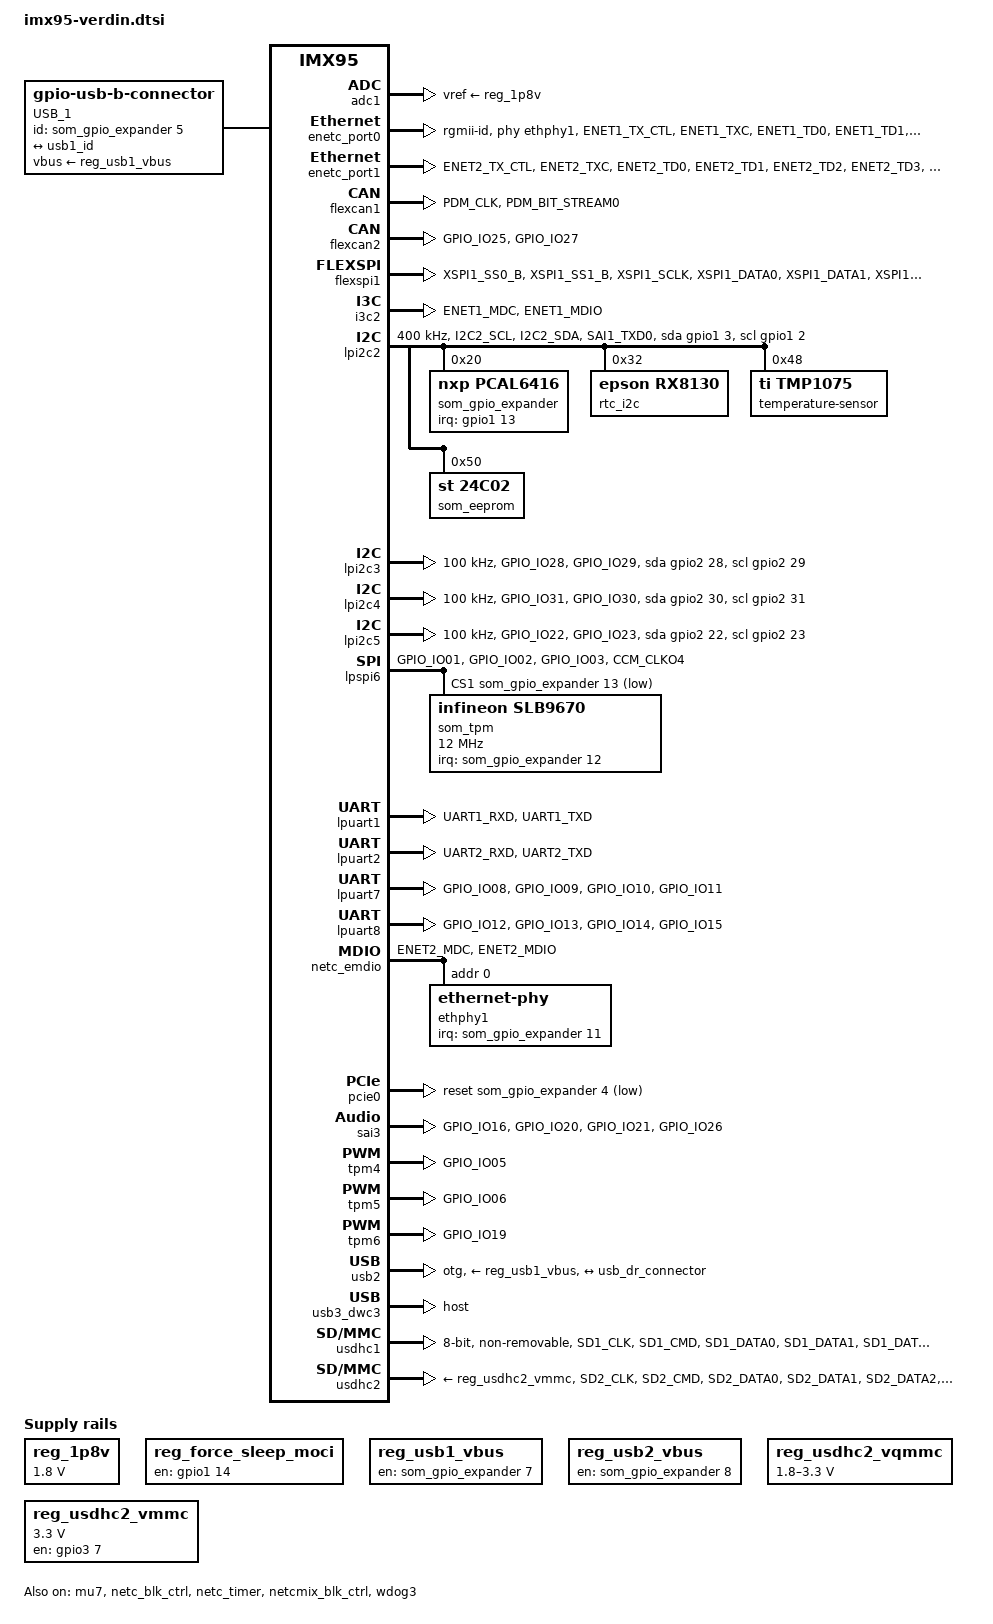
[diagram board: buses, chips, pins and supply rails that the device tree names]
// SPDX-License-Identifier: GPL-2.0-or-later OR MIT
/*
 * Copyright (c) Toradex
 *
 * Common dtsi for Verdin iMX95 SoM
 *
 * https://www.toradex.com/computer-on-modules/verdin-arm-family/nxp-imx95
 */

#include <dt-bindings/net/ti-dp83867.h>
#include "imx95.dtsi"

/ {
	aliases {
		can0 = &flexcan1;
		can1 = &flexcan2;
		eeprom0 = &som_eeprom;
		ethernet0 = &enetc_port0;
		ethernet1 = &enetc_port1;
		i2c0 = &lpi2c2;
		i2c1 = &lpi2c4;
		i2c2 = &lpi2c3;
		i2c3 = &i3c2;
		i2c4 = &lpi2c5;
		mmc0 = &usdhc1;
		mmc1 = &usdhc2;
		mmc2 = &usdhc3;
		rtc0 = &rtc_i2c;
		rtc1 = &scmi_bbm;
		serial0 = &lpuart7;
		serial1 = &lpuart8;
		serial2 = &lpuart1;
		serial3 = &lpuart2;
		serial4 = &lpuart6;
		usb0 = &usb2;
		usb1 = &usb3;
	};

	chosen {
		stdout-path = "serial2:115200n8";
	};

	connector {
		compatible = "gpio-usb-b-connector", "usb-b-connector";
		/* Verdin USB_1_ID (SODIMM 161) */
		id-gpios = <&som_gpio_expander 5 GPIO_ACTIVE_HIGH>;
		label = "USB_1";
		self-powered;
		vbus-supply = <&reg_usb1_vbus>;

		port {
			usb_dr_connector: endpoint {
				remote-endpoint = <&usb1_id>;
			};
		};
	};

	verdin_gpio_keys: gpio-keys {
		compatible = "gpio-keys";
		pinctrl-names = "default";
		pinctrl-0 = <&pinctrl_ctrl_wake1_mico>;

		status = "disabled";

		verdin_key_wakeup: key-wakeup {
			/* Verdin CTRL_WAKE1_MICO# (SODIMM 252) */
			gpios = <&gpio1 10 GPIO_ACTIVE_LOW>;
			label = "Wake-Up";
			linux,code = <KEY_WAKEUP>;
			wakeup-source;
		};
	};

	reg_1p8v: regulator-1p8v {
		compatible = "regulator-fixed";
		regulator-max-microvolt = <1800000>;
		regulator-min-microvolt = <1800000>;
		regulator-name = "On-module +V1.8";
	};

	/*
	 * By default we enable CTRL_SLEEP_MOCI#, this is required to have
	 * peripherals on the carrier board powered.
	 * If more granularity or power saving is required this can be disabled
	 * in the carrier board device tree files.
	 */
	reg_force_sleep_moci: regulator-force-sleep-moci {
		compatible = "regulator-fixed";
		/* Verdin CTRL_SLEEP_MOCI# (SODIMM 256) */
		gpios = <&gpio1 14 GPIO_ACTIVE_HIGH>;
		enable-active-high;
		regulator-always-on;
		regulator-boot-on;
		regulator-name = "CTRL_SLEEP_MOCI#";
	};

	reg_usb1_vbus: regulator-usb1-vbus {
		compatible = "regulator-fixed";
		/* Verdin USB_1_EN (SODIMM 155) */
		gpios = <&som_gpio_expander 7 GPIO_ACTIVE_HIGH>;
		enable-active-high;
		regulator-name = "USB_1_EN";
	};

	reg_usb2_vbus: regulator-usb2-vbus {
		compatible = "regulator-fixed";
		/* Verdin USB_2_EN (SODIMM 185) */
		gpios = <&som_gpio_expander 8 GPIO_ACTIVE_HIGH>;
		enable-active-high;
		regulator-name = "USB_2_EN";
	};

	reg_usdhc2_vqmmc: regulator-usdhc2-vqmmc {
		compatible = "regulator-gpio";
		pinctrl-names = "default";
		pinctrl-0 = <&pinctrl_usdhc2_vsel>;
		gpios = <&gpio3 19 GPIO_ACTIVE_HIGH>;
		regulator-max-microvolt = <3300000>;
		regulator-min-microvolt = <1800000>;
		states = <1800000 0x1>,
			 <3300000 0x0>;
		regulator-name = "PMIC_SD2_VSEL";
	};

	reg_usdhc2_vmmc: regulator-vmmc-usdhc2 {
		compatible = "regulator-fixed";
		pinctrl-names = "default";
		pinctrl-0 = <&pinctrl_usdhc2_pwr_en>;
		/* Verdin SD_1_PWR_EN (SODIMM 76) */
		gpios = <&gpio3 7 GPIO_ACTIVE_HIGH>;
		enable-active-high;
		off-on-delay-us = <100000>;
		regulator-max-microvolt = <3300000>;
		regulator-min-microvolt = <3300000>;
		regulator-name = "SD_1_PWR_EN";
		startup-delay-us = <20000>;
	};

	cm7: remoteproc-cm7 {
		compatible = "fsl,imx95-cm7";
		mbox-names = "tx", "rx", "rxdb";
		mboxes = <&mu7 0 1
			  &mu7 1 1
			  &mu7 3 1>;
		memory-region = <&vdevbuffer>, <&vdev0vring0>, <&vdev0vring1>,
				<&vdev1vring0>, <&vdev1vring1>, <&rsc_table>, <&m7_reserved>;
	};

	reserved-memory {
		#address-cells = <2>;
		#size-cells = <2>;
		ranges;

		linux_cma: linux,cma {
			compatible = "shared-dma-pool";
			reusable;
			size = <0 0x3c000000>;
			alloc-ranges = <0 0x80000000 0 0x7F000000>;
			linux,cma-default;
		};

		m7_reserved: memory@80000000 {
			reg = <0 0x80000000 0 0x1000000>;
			no-map;
		};

		vdev0vring0: vdev0vring0@88000000 {
			reg = <0 0x88000000 0 0x8000>;
			no-map;
		};

		vdev0vring1: vdev0vring1@88008000 {
			reg = <0 0x88008000 0 0x8000>;
			no-map;
		};

		vdev1vring0: vdev1vring0@88010000 {
			reg = <0 0x88010000 0 0x8000>;
			no-map;
		};

		vdev1vring1: vdev1vring1@88018000 {
			reg = <0 0x88018000 0 0x8000>;
			no-map;
		};

		vdevbuffer: vdevbuffer@88020000 {
			compatible = "shared-dma-pool";
			reg = <0 0x88020000 0 0x100000>;
			no-map;
		};

		rsc_table: rsc-table@88220000 {
			reg = <0 0x88220000 0 0x1000>;
			no-map;
		};
	};
};

/* Verdin ADC_1, ADC_2, ADC_3 and ADC_4 */
&adc1 {
	vref-supply = <&reg_1p8v>;
};

/* Verdin ETH_1 (On-module PHY) */
&enetc_port0 {
	pinctrl-names = "default";
	pinctrl-0 = <&pinctrl_enetc0>;
	phy-handle = <&ethphy1>;
	phy-mode = "rgmii-id";
};

/* Verdin ETH_2_RGMII */
&enetc_port1 {
	pinctrl-names = "default";
	pinctrl-0 = <&pinctrl_enetc1>;
};

/* Verdin CAN_1 */
&flexcan1 {
	pinctrl-names = "default";
	pinctrl-0 = <&pinctrl_flexcan1>;
};

/* Verdin CAN_2 */
&flexcan2 {
	pinctrl-names = "default";
	pinctrl-0 = <&pinctrl_flexcan2>;
};

/* Verdin QSPI_1 */
&flexspi1 {
	pinctrl-names = "default";
	pinctrl-0 = <&pinctrl_flexspi1>;
};

&gpio1 {
	gpio-line-names =
		"", /* 0 */
		"",
		"",
		"",
		"SODIMM_147",
		"SODIMM_149",
		"SODIMM_151",
		"SODIMM_153",
		"SODIMM_20",
		"SODIMM_22",
		"SODIMM_252", /* 10 */
		"",
		"SODIMM_189",
		"IO_EXP_INT",
		"SODIMM_256",
		"";

	status = "okay";
};

&gpio2 {
	gpio-line-names =
		"SODIMM_206", /* 0 */
		"SODIMM_198",
		"SODIMM_200",
		"SODIMM_196",
		"",
		"SODIMM_15",
		"SODIMM_16",
		"",
		"SODIMM_131",
		"SODIMM_129",
		"SODIMM_135", /* 10 */
		"SODIMM_133",
		"SODIMM_139",
		"SODIMM_137",
		"SODIMM_143",
		"SODIMM_141",
		"SODIMM_30",
		"SODIMM_38",
		"SODIMM_208",
		"SODIMM_19",
		"SODIMM_36", /* 20 */
		"SODIMM_34",
		"SODIMM_93",
		"SODIMM_95",
		"SODIMM_210",
		"SODIMM_24",
		"SODIMM_32",
		"SODIMM_26",
		"SODIMM_53",
		"SODIMM_55",
		"SODIMM_12", /* 30 */
		"SODIMM_14";
};

&gpio3 {
	gpio-line-names =
		"SODIMM_84", /* 0 */
		"SODIMM_78",
		"SODIMM_74",
		"SODIMM_80",
		"SODIMM_82",
		"SODIMM_70",
		"SODIMM_72",
		"SODIMM_76",
		"",
		"",
		"", /* 10 */
		"",
		"",
		"",
		"",
		"",
		"",
		"",
		"",
		"PMIC_SD2_VSEL",
		"", /* 20 */
		"",
		"",
		"",
		"",
		"",
		"SODIMM_91",
		"SODIMM_218",
		"",
		"",
		"", /* 30 */
		"";
};

&gpio4 {
	gpio-line-names =
		"SODIMM_59", /* 0 */
		"SODIMM_57",
		"",
		"",
		"",
		"",
		"",
		"",
		"",
		"",
		"", /* 10 */
		"",
		"",
		"",
		"SODIMM_193",
		"SODIMM_191",
		"SODIMM_215",
		"SODIMM_217",
		"SODIMM_219",
		"SODIMM_221",
		"SODIMM_211", /* 20 */
		"SODIMM_213",
		"SODIMM_199",
		"SODIMM_197",
		"SODIMM_201",
		"SODIMM_203",
		"SODIMM_205",
		"SODIMM_207",
		"SODIMM_216",
		"SODIMM_202";
};

&gpio5 {
	gpio-line-names =
		"SODIMM_56", /* 0 */
		"SODIMM_58",
		"SODIMM_60",
		"SODIMM_62",
		"SODIMM_46",
		"SODIMM_44",
		"SODIMM_42",
		"SODIMM_48",
		"SODIMM_66",
		"SODIMM_52",
		"SODIMM_54", /* 10 */
		"SODIMM_64",
		"SODIMM_212",
		"",
		"",
		"",
		"",
		"";
};

/* Verdin I2C_3_HDMI */
&i3c2 {
	pinctrl-names = "default";
	pinctrl-0 = <&pinctrl_i3c2>;
	i2c-scl-hz = <400000>;
};

/* CTRL_I2C (On-module I2C) */
&lpi2c2 {
	pinctrl-names = "default", "gpio";
	pinctrl-0 = <&pinctrl_lpi2c2>, <&pinctrl_io_exp_int>;
	pinctrl-1 = <&pinctrl_lpi2c2_gpio>, <&pinctrl_io_exp_int>;
	clock-frequency = <400000>;
	scl-gpios = <&gpio1 2 (GPIO_ACTIVE_HIGH | GPIO_OPEN_DRAIN)>;
	sda-gpios = <&gpio1 3 (GPIO_ACTIVE_HIGH | GPIO_OPEN_DRAIN)>;
	single-master;

	status = "okay";

	som_gpio_expander: gpio@20 {
		compatible = "nxp,pcal6416";
		reg = <0x20>;
		#interrupt-cells = <2>;
		interrupt-controller;
		interrupt-parent = <&gpio1>;
		interrupts = <13 IRQ_TYPE_LEVEL_LOW>;
		#gpio-cells = <2>;
		gpio-controller;

		gpio-line-names =
			"SODIMM_220", /* 0 */
			"SODIMM_222",
			"SODIMM_17",
			"SODIMM_21",
			"SODIMM_244",
			"SODIMM_161",
			"SODIMM_157",
			"SODIMM_155",
			"SODIMM_185",
			"SODIMM_187",
			"USB_RECOV_CTRL#", /* 10 */
			"ENET1_INT#",
			"TPM_INT#",
			"TPM_CS#",
			"",
			"";

		/*
		 * Switch USB to default position:
		 *   - SoC USB2 -> Verdin USB_1
		 *   - SoC USB1 -> Verdin USB_2
		 * Reset configuration:
		 *   - SoC USB1 -> Verdin USB_1 (USB recovery)
		 *   - SoC USB2 not connected
		 */
		usb_recov_ctrl: usb-recov-ctrl-hog {
			gpio-hog;
			gpios = <10 GPIO_ACTIVE_HIGH>;
			line-name = "USB_RECOV_CTRL#";
			output-high;
		};
	};

	rtc_i2c: rtc@32 {
		compatible = "epson,rx8130";
		reg = <0x32>;
	};

	temperature-sensor@48 {
		compatible = "ti,tmp1075";
		reg = <0x48>;
	};

	som_eeprom: eeprom@50 {
		compatible = "st,24c02", "atmel,24c02";
		reg = <0x50>;
		pagesize = <16>;
	};
};

/* Verdin I2C_2_DSI */
&lpi2c3 {
	pinctrl-names = "default", "gpio";
	pinctrl-0 = <&pinctrl_lpi2c3>;
	pinctrl-1 = <&pinctrl_lpi2c3_gpio>;
	clock-frequency = <100000>;
	scl-gpios = <&gpio2 29 (GPIO_ACTIVE_HIGH | GPIO_OPEN_DRAIN)>;
	sda-gpios = <&gpio2 28 (GPIO_ACTIVE_HIGH | GPIO_OPEN_DRAIN)>;
	single-master;
};

/* Verdin I2C_1 */
&lpi2c4 {
	pinctrl-names = "default", "gpio";
	pinctrl-0 = <&pinctrl_lpi2c4>;
	pinctrl-1 = <&pinctrl_lpi2c4_gpio>;
	clock-frequency = <100000>;
	scl-gpios = <&gpio2 31 (GPIO_ACTIVE_HIGH | GPIO_OPEN_DRAIN)>;
	sda-gpios = <&gpio2 30 (GPIO_ACTIVE_HIGH | GPIO_OPEN_DRAIN)>;
	single-master;
};

/* Verdin I2C_4_CSI */
&lpi2c5 {
	pinctrl-names = "default", "gpio";
	pinctrl-0 = <&pinctrl_lpi2c5>;
	pinctrl-1 = <&pinctrl_lpi2c5_gpio>;
	clock-frequency = <100000>;
	scl-gpios = <&gpio2 23 (GPIO_ACTIVE_HIGH | GPIO_OPEN_DRAIN)>;
	sda-gpios = <&gpio2 22 (GPIO_ACTIVE_HIGH | GPIO_OPEN_DRAIN)>;
	single-master;
};

/* Verdin SPI_1 */
&lpspi6 {
	pinctrl-names = "default";
	pinctrl-0 = <&pinctrl_lpspi6>, <&pinctrl_spi1_cs>;
	cs-gpios = <&gpio4 29 GPIO_ACTIVE_LOW>,
		   <&som_gpio_expander 13 GPIO_ACTIVE_LOW>;

	status = "okay";

	som_tpm: tpm@1 {
		compatible = "infineon,slb9670", "tcg,tpm_tis-spi";
		reg = <0x1>;
		interrupt-parent = <&som_gpio_expander>;
		interrupts = <12 IRQ_TYPE_EDGE_FALLING>;
		/*
		 * Maximum TPM-supported speed is 18.5 MHz, limited to 12 MHz
		 * here as lpspi6's per-clock (twice the max speed) is 24 MHz
		 */
		spi-max-frequency = <12000000>;
	};
};

/* Verdin UART_3, used as the Linux console */
&lpuart1 {
	pinctrl-names = "default";
	pinctrl-0 = <&pinctrl_uart1>;
};

/* Verdin UART_4 */
&lpuart2 {
	pinctrl-names = "default";
	pinctrl-0 = <&pinctrl_uart2>;
};

/* Verdin UART_1 */
&lpuart7 {
	pinctrl-names = "default";
	pinctrl-0 = <&pinctrl_uart7>;
	uart-has-rtscts;
};

/* Verdin UART_2 */
&lpuart8 {
	pinctrl-names = "default";
	pinctrl-0 = <&pinctrl_uart8>;
	uart-has-rtscts;
};

&mu7 {
	status = "okay";
};

&netc_blk_ctrl {
	status = "okay";
};

&netc_bus0 {
	msi-map = <0x0 &its 0x60 0x1>,	//ENETC0 PF
		  <0x10 &its 0x61 0x1>, //ENETC0 VF0
		  <0x20 &its 0x62 0x1>, //ENETC0 VF1
		  <0x40 &its 0x63 0x1>, //ENETC1 PF
		  <0x50 &its 0x65 0x1>, //ENETC1 VF0
		  <0x60 &its 0x66 0x1>, //ENETC1 VF1
		  <0x80 &its 0x64 0x1>, //ENETC2 PF
		  <0xc0 &its 0x67 0x1>; //NETC Timer
	iommu-map = <0x0 &smmu 0x20 0x1>,
		    <0x10 &smmu 0x21 0x1>,
		    <0x20 &smmu 0x22 0x1>,
		    <0x40 &smmu 0x23 0x1>,
		    <0x50 &smmu 0x25 0x1>,
		    <0x60 &smmu 0x26 0x1>,
		    <0x80 &smmu 0x24 0x1>,
		    <0xc0 &smmu 0x27 0x1>;
};

/* Verdin ETH_2_RGMII_MDIO, shared between all ethernet ports */
&netc_emdio {
	pinctrl-names = "default";
	pinctrl-0 = <&pinctrl_emdio>;

	status = "okay";

	ethphy1: ethernet-phy@0 {
		reg = <0>;
		interrupt-parent = <&som_gpio_expander>;
		interrupts = <11 IRQ_TYPE_EDGE_FALLING>;
		ti,rx-internal-delay = <DP83867_RGMIIDCTL_2_00_NS>;
		ti,tx-internal-delay = <DP83867_RGMIIDCTL_2_00_NS>;
	};
};

&netc_timer {
	status = "okay";
};

&netcmix_blk_ctrl {
	status = "okay";
};

/* Verdin PCIE_1 */
&pcie0 {
	/* PCIE_1_RESET# (SODIMM 244) */
	reset-gpios = <&som_gpio_expander 4 GPIO_ACTIVE_LOW>;
};

/* Verdin I2S_1 */
&sai3 {
	pinctrl-names = "default";
	pinctrl-0 = <&pinctrl_sai3>;
	assigned-clocks = <&scmi_clk IMX95_CLK_AUDIOPLL1_VCO>,
			  <&scmi_clk IMX95_CLK_AUDIOPLL2_VCO>,
			  <&scmi_clk IMX95_CLK_AUDIOPLL1>,
			  <&scmi_clk IMX95_CLK_AUDIOPLL2>,
			  <&scmi_clk IMX95_CLK_SAI3>;
	assigned-clock-parents = <0>, <0>, <0>, <0>,
				 <&scmi_clk IMX95_CLK_AUDIOPLL1>;
	assigned-clock-rates = <3932160000>,
			       <3612672000>, <393216000>,
			       <361267200>, <12288000>;
	#sound-dai-cells = <0>;
	fsl,sai-mclk-direction-output;
};

&scmi_bbm {
	linux,code = <KEY_POWER>;
};

&thermal_zones {
	/* PF09 Main PMIC */
	pf09-thermal {
		polling-delay = <2000>;
		polling-delay-passive = <250>;
		thermal-sensors = <&scmi_sensor 2>;

		trips {
			trip0 {
				hysteresis = <2000>;
				temperature = <155000>;
				type = "critical";
			};
		};
	};

	/* PF53 VDD_ARM PMIC */
	pf53-arm-thermal {
		polling-delay = <2000>;
		polling-delay-passive = <250>;
		thermal-sensors = <&scmi_sensor 4>;

		trips {
			trip0 {
				hysteresis = <2000>;
				temperature = <155000>;
				type = "critical";
			};
		};
	};

	/* PF53 VDD_SOC PMIC */
	pf53-soc-thermal {
		polling-delay = <2000>;
		polling-delay-passive = <250>;
		thermal-sensors = <&scmi_sensor 3>;

		trips {
			trip0 {
				hysteresis = <2000>;
				temperature = <155000>;
				type = "critical";
			};
		};
	};
};

/* Verdin PWM_1 */
&tpm4 {
	pinctrl-names = "default";
	pinctrl-0 = <&pinctrl_tpm4>;
};

/* Verdin PWM_2 */
&tpm5 {
	pinctrl-names = "default";
	pinctrl-0 = <&pinctrl_tpm5>;
};

/* Verdin PWM_3_DSI */
&tpm6 {
	pinctrl-names = "default";
	pinctrl-0 = <&pinctrl_tpm6>;
};

/* Verdin USB_1 */
&usb2 {
	dr_mode = "otg";
	adp-disable;
	hnp-disable;
	srp-disable;
	usb-role-switch;
	vbus-supply = <&reg_usb1_vbus>;

	port {
		usb1_id: endpoint {
			remote-endpoint = <&usb_dr_connector>;
		};
	};
};

/* Verdin USB_2 */
&usb3 {
	fsl,disable-port-power-control;
};

&usb3_dwc3 {
	dr_mode = "host";
};

&usb3_phy {
	vbus-supply = <&reg_usb2_vbus>;
};

/* On-module eMMC */
&usdhc1 {
	pinctrl-names = "default", "state_100mhz", "state_200mhz";
	pinctrl-0 = <&pinctrl_usdhc1>;
	pinctrl-1 = <&pinctrl_usdhc1>;
	pinctrl-2 = <&pinctrl_usdhc1_200mhz>;
	bus-width = <8>;
	non-removable;
	no-sdio;
	no-sd;

	status = "okay";
};

/* Verdin SD_1 */
&usdhc2 {
	pinctrl-names = "default", "state_100mhz", "state_200mhz", "sleep";
	pinctrl-0 = <&pinctrl_usdhc2>, <&pinctrl_usdhc2_cd>;
	pinctrl-1 = <&pinctrl_usdhc2>, <&pinctrl_usdhc2_cd>;
	pinctrl-2 = <&pinctrl_usdhc2_200mhz>,<&pinctrl_usdhc2_cd>;
	pinctrl-3 = <&pinctrl_usdhc2_sleep>, <&pinctrl_usdhc2_cd>;
	cd-gpios = <&gpio3 0 GPIO_ACTIVE_LOW>;
	vmmc-supply = <&reg_usdhc2_vmmc>;
	vqmmc-supply = <&reg_usdhc2_vqmmc>;
};

&wdog3 {
	fsl,ext-reset-output;

	status = "okay";
};

&scmi_iomuxc {
	/* On-module Bluetooth on WB SKUs, module-specific UART otherwise */
	pinctrl_bt_uart: btuartgrp {
		fsl,pins = <IMX95_PAD_GPIO_IO04__LPUART6_TX	0x31e>, /* WiFi_UART_SoC_TXD */
			   <IMX95_PAD_GPIO_IO33__LPUART6_RX	0x31e>, /* WiFi_UART_SoC_RXD */
			   <IMX95_PAD_GPIO_IO34__LPUART6_CTS_B	0x31e>, /* WiFi_UART_SoC_CTS */
			   <IMX95_PAD_GPIO_IO07__LPUART6_RTS_B	0x31e>; /* WiFi_UART_SoC_RTS */
	};

	/* Verdin CSI_1_MCLK */
	pinctrl_csi1_mclk: csi1mclkgrp {
		fsl,pins = <IMX95_PAD_CCM_CLKO1__CCMSRCGPCMIX_TOP_CLKO_1	0x51e>; /* SODIMM 91 */
	};

	/* Verdin CTRL_SLEEP_MOCI# */
	pinctrl_ctrl_sleep_moci: ctrlsleepmocigrp {
		fsl,pins = <IMX95_PAD_SAI1_RXD0__AONMIX_TOP_GPIO1_IO_BIT14	0x51e>; /* SODIMM 256 */
	};

	/* Verdin CTRL_WAKE1_MICO# */
	pinctrl_ctrl_wake1_mico: ctrlwake1micogrp {
		fsl,pins = <IMX95_PAD_PDM_BIT_STREAM1__AONMIX_TOP_GPIO1_IO_BIT10	0x31e>; /* SODIMM 252 */
	};

	/* Verdin ETH_2_RGMII_MDIO, shared between all ethernet ports */
	pinctrl_emdio: emdiogrp {
		fsl,pins = <IMX95_PAD_ENET2_MDC__NETCMIX_TOP_NETC_MDC	0x50e>, /* ENET2_MDC, SODIMM 193 */
			   <IMX95_PAD_ENET2_MDIO__NETCMIX_TOP_NETC_MDIO	0x90e>; /* ENET2_MDIO, SODIMM 191 */
	};

	/* Verdin ETH_1 (On-module PHY) */
	pinctrl_enetc0: enetc0grp {
		fsl,pins = <IMX95_PAD_ENET1_TX_CTL__NETCMIX_TOP_ETH0_RGMII_TX_CTL	0x57e>, /* ENET1_TX_CTL */
			   <IMX95_PAD_ENET1_TXC__NETCMIX_TOP_ETH0_RGMII_TX_CLK		0x58e>, /* ENET1_TXC    */
			   <IMX95_PAD_ENET1_TD0__NETCMIX_TOP_ETH0_RGMII_TD0		0x50e>, /* ENET1_TDO    */
			   <IMX95_PAD_ENET1_TD1__NETCMIX_TOP_ETH0_RGMII_TD1		0x50e>, /* ENET1_TD1    */
			   <IMX95_PAD_ENET1_TD2__NETCMIX_TOP_ETH0_RGMII_TD2		0x50e>, /* ENET1_TD2    */
			   <IMX95_PAD_ENET1_TD3__NETCMIX_TOP_ETH0_RGMII_TD3		0x50e>, /* ENET1_TD3    */
			   <IMX95_PAD_ENET1_RX_CTL__NETCMIX_TOP_ETH0_RGMII_RX_CTL	0x57e>, /* ENET1_RX_CTL */
			   <IMX95_PAD_ENET1_RXC__NETCMIX_TOP_ETH0_RGMII_RX_CLK		0x58e>, /* ENET1_RXC    */
			   <IMX95_PAD_ENET1_RD0__NETCMIX_TOP_ETH0_RGMII_RD0		0x57e>, /* ENET1_RD0    */
			   <IMX95_PAD_ENET1_RD1__NETCMIX_TOP_ETH0_RGMII_RD1		0x57e>, /* ENET1_RD1    */
			   <IMX95_PAD_ENET1_RD2__NETCMIX_TOP_ETH0_RGMII_RD2		0x57e>, /* ENET1_RD2    */
			   <IMX95_PAD_ENET1_RD3__NETCMIX_TOP_ETH0_RGMII_RD3		0x57e>; /* ENET1_RD3    */
	};

	/* Verdin ETH_2_RGMII */
	pinctrl_enetc1: enetc1grp {
		fsl,pins = <IMX95_PAD_ENET2_TX_CTL__NETCMIX_TOP_ETH1_RGMII_TX_CTL	0x57e>, /* ENET2_TX_CTL */
			   <IMX95_PAD_ENET2_TXC__NETCMIX_TOP_ETH1_RGMII_TX_CLK		0x58e>, /* ENET2_TXC    */
			   <IMX95_PAD_ENET2_TD0__NETCMIX_TOP_ETH1_RGMII_TD0		0x50e>, /* ENET2_TD0    */
			   <IMX95_PAD_ENET2_TD1__NETCMIX_TOP_ETH1_RGMII_TD1		0x50e>, /* ENET2_TD1    */
			   <IMX95_PAD_ENET2_TD2__NETCMIX_TOP_ETH1_RGMII_TD2		0x50e>, /* ENET2_TD2    */
			   <IMX95_PAD_ENET2_TD3__NETCMIX_TOP_ETH1_RGMII_TD3		0x50e>, /* ENET2_TD3    */
			   <IMX95_PAD_ENET2_RX_CTL__NETCMIX_TOP_ETH1_RGMII_RX_CTL	0x57e>, /* ENET2_RX_CTL */
			   <IMX95_PAD_ENET2_RXC__NETCMIX_TOP_ETH1_RGMII_RX_CLK		0x58e>, /* ENET2_RXC    */
			   <IMX95_PAD_ENET2_RD0__NETCMIX_TOP_ETH1_RGMII_RD0		0x57e>, /* ENET2_RD0    */
			   <IMX95_PAD_ENET2_RD1__NETCMIX_TOP_ETH1_RGMII_RD1		0x57e>, /* ENET2_RD1    */
			   <IMX95_PAD_ENET2_RD2__NETCMIX_TOP_ETH1_RGMII_RD2		0x57e>, /* ENET2_RD2    */
			   <IMX95_PAD_ENET2_RD3__NETCMIX_TOP_ETH1_RGMII_RD3		0x57e>; /* ENET2_RD3    */
	};

	/* Verdin ETH_2_RGMII_INT#  */
	pinctrl_eth2_rgmii_int: eth2rgmiiintgrp {
		fsl,pins = <IMX95_PAD_SAI1_TXC__AONMIX_TOP_GPIO1_IO_BIT12	0x31e>; /* SODIMM 189 */
	};

	/* Verdin CAN_1 */
	pinctrl_flexcan1: flexcan1grp {
		fsl,pins = <IMX95_PAD_PDM_CLK__AONMIX_TOP_CAN1_TX		0x39e>, /* SODIMM 20 */
			   <IMX95_PAD_PDM_BIT_STREAM0__AONMIX_TOP_CAN1_RX	0x39e>; /* SODIMM 22 */
	};

	/* Verdin CAN_2 */
	pinctrl_flexcan2: flexcan2grp {
		fsl,pins = <IMX95_PAD_GPIO_IO25__CAN2_TX	0x39e>, /* SODIMM 24 */
			   <IMX95_PAD_GPIO_IO27__CAN2_RX	0x39e>; /* SODIMM 26 */
	};

	/* Verdin QSPI_1 */
	pinctrl_flexspi1: flexspi1grp {
		fsl,pins = <IMX95_PAD_XSPI1_SS0_B__FLEXSPI1_A_SS0_B	0x3fe>, /* SODIMM 54 */
			   <IMX95_PAD_XSPI1_SS1_B__FLEXSPI1_A_SS1_B	0x3fe>, /* SODIMM 64 */
			   <IMX95_PAD_XSPI1_SCLK__XSPI_CLK		0x3fe>, /* SODIMM 52 */
			   <IMX95_PAD_XSPI1_DATA0__XSPI_DATA_BIT0	0x3fe>, /* SODIMM 56 */
			   <IMX95_PAD_XSPI1_DATA1__XSPI_DATA_BIT1	0x3fe>, /* SODIMM 58 */
			   <IMX95_PAD_XSPI1_DATA2__XSPI_DATA_BIT2	0x3fe>, /* SODIMM 60 */
			   <IMX95_PAD_XSPI1_DATA3__XSPI_DATA_BIT3	0x3fe>, /* SODIMM 62 */
			   <IMX95_PAD_XSPI1_DQS__XSPI_DQS		0x3fe>; /* SODIMM 66 */
	};

	/* Verdin GPIO_1 */
	pinctrl_gpio1: gpio1grp {
		fsl,pins = <IMX95_PAD_GPIO_IO00__GPIO2_IO_BIT0	0x51e>; /* SODIMM 206 */
	};

	/* Verdin GPIO_2 */
	pinctrl_gpio2: gpio2grp {
		fsl,pins = <IMX95_PAD_GPIO_IO18__GPIO2_IO_BIT18	0x51e>; /* SODIMM 208 */
	};

	/* Verdin GPIO_3 */
	pinctrl_gpio3: gpio3grp {
		fsl,pins = <IMX95_PAD_GPIO_IO24__GPIO2_IO_BIT24	0x51e>; /* SODIMM 210 */
	};

	/* Verdin GPIO_4 */
	pinctrl_gpio4: gpio4grp {
		fsl,pins = <IMX95_PAD_GPIO_IO32__GPIO5_IO_BIT12	0x51e>; /* SODIMM 212 */
	};

	/* Verdin GPIO_5_CSI */
	pinctrl_gpio5: gpio5grp {
		fsl,pins = <IMX95_PAD_CCM_CLKO3__GPIO4_IO_BIT28	0x51e>; /* SODIMM 216 */
	};

	/* Verdin GPIO_6_CSI */
	pinctrl_gpio6: gpio6grp {
		fsl,pins = <IMX95_PAD_CCM_CLKO2__GPIO3_IO_BIT27	0x51e>; /* SODIMM 218 */
	};

	/* Verdin I2S_2_BCLK as GPIO (conflict with Verdin I2S_2) */
	pinctrl_i2s_2_bclk_gpio: i2s2bclkgpiogrp {
		fsl,pins = <IMX95_PAD_XSPI1_DATA6__GPIO5_IO_BIT6	0x51e>; /* SODIMM 42 */
	};

	/* Verdin I2S_2_D_IN as GPIO (conflict with Verdin I2S_2) */
	pinctrl_i2s_2_d_in_gpio: i2s2dingpiogrp {
		fsl,pins = <IMX95_PAD_XSPI1_DATA7__GPIO5_IO_BIT7	0x31e>; /* SODIMM 48 */
	};

	/* Verdin I2S_2_D_OUT as GPIO (conflict with Verdin I2S_2) */
	pinctrl_i2s_2_d_out_gpio: i2s2doutgpiogrp {
		fsl,pins = <IMX95_PAD_XSPI1_DATA4__GPIO5_IO_BIT4	0x51e>; /* SODIMM 46 */
	};

	/* Verdin I2S_2_SYNC as GPIO (conflict with Verdin I2S_2) */
	pinctrl_i2s_2_sync_gpio: i2s2syncgpiogrp {
		fsl,pins = <IMX95_PAD_XSPI1_DATA5__GPIO5_IO_BIT5	0x51e>; /* SODIMM 44 */
	};

	/* Verdin I2C_3_HDMI */
	pinctrl_i3c2: i3c2cgrp {
		fsl,pins = <IMX95_PAD_ENET1_MDC__I3C2_SCL	0x40001186>, /* SODIMM 59 */
			   <IMX95_PAD_ENET1_MDIO__I3C2_SDA	0x40001186>; /* SODIMM 57 */
	};

	pinctrl_io_exp_int: ioexpintgrp {
		fsl,pins = <IMX95_PAD_SAI1_TXD0__AONMIX_TOP_GPIO1_IO_BIT13	0x31e>; /* IO_EXP_INT */
	};

	/* CTRL_I2C (On-module I2C) */
	pinctrl_lpi2c2_gpio: lpi2c2gpiogrp {
		fsl,pins = <IMX95_PAD_I2C2_SCL__AONMIX_TOP_GPIO1_IO_BIT2	0x40001b9e>, /* CTRL_I2C_SCL */
			   <IMX95_PAD_I2C2_SDA__AONMIX_TOP_GPIO1_IO_BIT3	0x40001b9e>; /* CTRL_I2C_SDA */
	};

	pinctrl_lpi2c2: lpi2c2grp {
		fsl,pins = <IMX95_PAD_I2C2_SCL__AONMIX_TOP_LPI2C2_SCL	0x40001b9e>, /* CTRL_I2C_SCL */
			   <IMX95_PAD_I2C2_SDA__AONMIX_TOP_LPI2C2_SDA	0x40001b9e>; /* CTRL_I2C_SDA */
	};

	/* Verdin I2C_2_DSI */
	pinctrl_lpi2c3_gpio: lpi2c3gpiogrp {
		fsl,pins = <IMX95_PAD_GPIO_IO28__GPIO2_IO_BIT28	0x40001b9e>, /* SODIMM 53 */
			   <IMX95_PAD_GPIO_IO29__GPIO2_IO_BIT29	0x40001b9e>; /* SODIMM 55 */
	};

	pinctrl_lpi2c3: lpi2c3grp {
		fsl,pins = <IMX95_PAD_GPIO_IO28__LPI2C3_SDA	0x40001b9e>, /* SODIMM 53 */
			   <IMX95_PAD_GPIO_IO29__LPI2C3_SCL	0x40001b9e>; /* SODIMM 55 */
	};

	/* Verdin I2C_1 */
	pinctrl_lpi2c4_gpio: lpi2c4gpiogrp {
		fsl,pins = <IMX95_PAD_GPIO_IO31__GPIO2_IO_BIT31	0x40001b9e>, /* SODIMM 14 */
			   <IMX95_PAD_GPIO_IO30__GPIO2_IO_BIT30	0x40001b9e>; /* SODIMM 12 */
	};

	pinctrl_lpi2c4: lpi2c4grp {
		fsl,pins = <IMX95_PAD_GPIO_IO31__LPI2C4_SCL	0x40001b9e>, /* SODIMM 14 */
			   <IMX95_PAD_GPIO_IO30__LPI2C4_SDA	0x40001b9e>; /* SODIMM 12 */
	};

	/* Verdin I2C_4_CSI */
	pinctrl_lpi2c5_gpio: lpi2c5gpiogrp {
		fsl,pins = <IMX95_PAD_GPIO_IO22__GPIO2_IO_BIT22	0x40001b9e>, /* SODIMM 93 */
			   <IMX95_PAD_GPIO_IO23__GPIO2_IO_BIT23	0x40001b9e>; /* SODIMM 95 */
	};

	pinctrl_lpi2c5: lpi2c5grp {
		fsl,pins = <IMX95_PAD_GPIO_IO22__LPI2C5_SDA	0x40001b9e>, /* SODIMM 93 */
			   <IMX95_PAD_GPIO_IO23__LPI2C5_SCL	0x40001b9e>; /* SODIMM 95 */
	};

	/* Verdin SPI_1 */
	pinctrl_lpspi6: lpspi6grp {
		fsl,pins = <IMX95_PAD_GPIO_IO01__LPSPI6_SIN	0x3fe>, /* SODIMM 198 */
			   <IMX95_PAD_GPIO_IO02__LPSPI6_SOUT	0x3fe>, /* SODIMM 200 */
			   <IMX95_PAD_GPIO_IO03__LPSPI6_SCK	0x3fe>; /* SODIMM 196 */
	};

	/* Verdin QSPI_1_CLK as GPIO (conflict with Verdin QSPI_1 interface) */
	pinctrl_qspi1_clk_gpio: qspi1clkgpiogrp {
		fsl,pins = <IMX95_PAD_XSPI1_SCLK__GPIO5_IO_BIT9		0x11e>; /* SODIMM 52 */
	};

	/* Verdin QSPI_1_CS2# as GPIO (conflict with Verdin QSPI_1 interface) */
	pinctrl_qspi1_cs2_gpio: qspi1cs2gpiogrp {
		fsl,pins = <IMX95_PAD_XSPI1_SS1_B__GPIO5_IO_BIT11	0x11e>; /* SODIMM 64 */
	};

	/* Verdin QSPI_1_CS# as GPIO (conflict with Verdin QSPI_1 interface) */
	pinctrl_qspi1_cs_gpio: qspi1csgpiogrp {
		fsl,pins = <IMX95_PAD_XSPI1_SS0_B__GPIO5_IO_BIT10	0x11e>; /* SODIMM 54 */
	};

	/* Verdin QSPI_1_DQS as GPIO (conflict with Verdin QSPI_1 interface) */
	pinctrl_qspi1_dqs_gpio: qspi1dqsgpiogrp {
		fsl,pins = <IMX95_PAD_XSPI1_DQS__GPIO5_IO_BIT8		0x11e>; /* SODIMM 66 */
	};

	/* Verdin QSPI_1_IO0 as GPIO (conflict with Verdin QSPI_1 interface) */
	pinctrl_qspi1_io0_gpio: qspi1io0gpiogrp {
		fsl,pins = <IMX95_PAD_XSPI1_DATA0__GPIO5_IO_BIT0	0x119e>; /* SODIMM 56 */
	};

	/* Verdin QSPI_1_IO1 as GPIO (conflict with Verdin QSPI_1 interface) */
	pinctrl_qspi1_io1_gpio: qspi1io1gpiogrp {
		fsl,pins = <IMX95_PAD_XSPI1_DATA1__GPIO5_IO_BIT1	0x119e>; /* SODIMM 58 */
	};

	/* Verdin QSPI_1_IO2 as GPIO (conflict with Verdin QSPI_1 interface) */
	pinctrl_qspi1_io2_gpio: qspi1io2gpiogrp {
		fsl,pins = <IMX95_PAD_XSPI1_DATA2__GPIO5_IO_BIT2	0x11e>; /* SODIMM 60 */
	};

	/* Verdin QSPI_1_IO3 as GPIO (conflict with Verdin QSPI_1 interface) */
	pinctrl_qspi1_io3_gpio: qspi1io3gpiogrp {
		fsl,pins = <IMX95_PAD_XSPI1_DATA3__GPIO5_IO_BIT3	0x11e>; /* SODIMM 62 */
	};

	/* Verdin I2S_1 */
	pinctrl_sai3: sai3grp {
		fsl,pins = <IMX95_PAD_GPIO_IO16__SAI3_TX_BCLK		0x11e>, /* SODIMM 30 */
			   <IMX95_PAD_GPIO_IO20__SAI3_RX_DATA_BIT0	0x11e>, /* SODIMM 36 */
			   <IMX95_PAD_GPIO_IO21__SAI3_TX_DATA_BIT0	0x11e>, /* SODIMM 34 */
			   <IMX95_PAD_GPIO_IO26__SAI3_TX_SYNC		0x11e>; /* SODIMM 32 */
	};

	/* Verdin I2S_1_MCLK */
	pinctrl_sai3_mclk: sai3mclkgrp {
		fsl,pins = <IMX95_PAD_GPIO_IO17__SAI3_MCLK	0x31e>; /* SODIMM 38 */
	};

	/* Verdin I2S_2 */
	pinctrl_sai5: sai5grp {
		fsl,pins = <IMX95_PAD_XSPI1_DATA4__SAI5_TX_DATA_BIT0	0x11e>, /* SODIMM 46 */
			   <IMX95_PAD_XSPI1_DATA5__SAI5_TX_SYNC		0x11e>, /* SODIMM 44 */
			   <IMX95_PAD_XSPI1_DATA6__SAI5_TX_BCLK		0x11e>, /* SODIMM 42 */
			   <IMX95_PAD_XSPI1_DATA7__SAI5_RX_DATA_BIT0	0x11e>; /* SODIMM 48 */
	};

	/* Verdin SPI_1_CS */
	pinctrl_spi1_cs: spi1csgrp {
		fsl,pins = <IMX95_PAD_CCM_CLKO4__GPIO4_IO_BIT29	0x3fe>; /* SODIMM 202 */
	};

	/* Verdin PWM_1 */
	pinctrl_tpm4: tpm4grp {
		fsl,pins = <IMX95_PAD_GPIO_IO05__TPM4_CH0	0x11e>; /* SODIMM 15 */
	};

	/* Verdin PWM_2 */
	pinctrl_tpm5: tpm5grp {
		fsl,pins = <IMX95_PAD_GPIO_IO06__TPM5_CH0	0x11e>; /* SODIMM 16 */
	};

	/* Verdin PWM_3_DSI as GPIO */
	pinctrl_tpm6_gpio: tpm6gpiogrp {
		fsl,pins = <IMX95_PAD_GPIO_IO19__GPIO2_IO_BIT19	0x51e>; /* SODIMM 19 */
	};

	/* Verdin PWM_3_DSI */
	pinctrl_tpm6: tpm6grp {
		fsl,pins = <IMX95_PAD_GPIO_IO19__TPM6_CH2	0x11e>; /* SODIMM 19 */
	};

	/* Verdin UART_3, used as the Linux Console */
	pinctrl_uart1: uart1grp {
		fsl,pins = <IMX95_PAD_UART1_RXD__AONMIX_TOP_LPUART1_RX	0x31e>, /* SODIMM 147 */
			   <IMX95_PAD_UART1_TXD__AONMIX_TOP_LPUART1_TX	0x31e>; /* SODIMM 149 */
	};

	/* Verdin UART_4 */
	pinctrl_uart2: uart2grp {
		fsl,pins = <IMX95_PAD_UART2_RXD__AONMIX_TOP_LPUART2_RX	0x31e>, /* SODIMM 151 */
			   <IMX95_PAD_UART2_TXD__AONMIX_TOP_LPUART2_TX	0x31e>; /* SODIMM 153 */
	};

	/* Verdin UART_1 */
	pinctrl_uart7: uart7grp {
		fsl,pins = <IMX95_PAD_GPIO_IO08__LPUART7_TX	0x31e>, /* SODIMM 131 */
			   <IMX95_PAD_GPIO_IO09__LPUART7_RX	0x31e>, /* SODIMM 129 */
			   <IMX95_PAD_GPIO_IO10__LPUART7_CTS_B	0x31e>, /* SODIMM 135 */
			   <IMX95_PAD_GPIO_IO11__LPUART7_RTS_B	0x31e>; /* SODIMM 133 */
	};

	/* Verdin UART_2 */
	pinctrl_uart8: uart8grp {
		fsl,pins = <IMX95_PAD_GPIO_IO12__LPUART8_TX	0x31e>, /* SODIMM 139 */
			   <IMX95_PAD_GPIO_IO13__LPUART8_RX	0x31e>, /* SODIMM 137 */
			   <IMX95_PAD_GPIO_IO14__LPUART8_CTS_B	0x31e>, /* SODIMM 143 */
			   <IMX95_PAD_GPIO_IO15__LPUART8_RTS_B	0x31e>; /* SODIMM 141 */
	};

	/* On-module eMMC */
	pinctrl_usdhc1: usdhc1grp {
		fsl,pins = <IMX95_PAD_SD1_CLK__USDHC1_CLK	0x158e>, /* SD1_CLK    */
			   <IMX95_PAD_SD1_CMD__USDHC1_CMD	0x138e>, /* SD1_CMD    */
			   <IMX95_PAD_SD1_DATA0__USDHC1_DATA0	0x138e>, /* SD1_DATA0  */
			   <IMX95_PAD_SD1_DATA1__USDHC1_DATA1	0x138e>, /* SD1_DATA1  */
			   <IMX95_PAD_SD1_DATA2__USDHC1_DATA2	0x138e>, /* SD1_DATA2  */
			   <IMX95_PAD_SD1_DATA3__USDHC1_DATA3	0x138e>, /* SD1_DATA3  */
			   <IMX95_PAD_SD1_DATA4__USDHC1_DATA4	0x138e>, /* SD1_DATA4  */
			   <IMX95_PAD_SD1_DATA5__USDHC1_DATA5	0x138e>, /* SD1_DATA5  */
			   <IMX95_PAD_SD1_DATA6__USDHC1_DATA6	0x138e>, /* SD1_DATA6  */
			   <IMX95_PAD_SD1_DATA7__USDHC1_DATA7	0x138e>, /* SD1_DATA7  */
			   <IMX95_PAD_SD1_STROBE__USDHC1_STROBE	0x158e>; /* SD1_STROBE */
	};

	pinctrl_usdhc1_200mhz: usdhc1-200mhzgrp {
		fsl,pins = <IMX95_PAD_SD1_CLK__USDHC1_CLK	0x15fe>, /* SD1_CLK    */
			   <IMX95_PAD_SD1_CMD__USDHC1_CMD	0x13fe>, /* SD1_CMD    */
			   <IMX95_PAD_SD1_DATA0__USDHC1_DATA0	0x13fe>, /* SD1_DATA0  */
			   <IMX95_PAD_SD1_DATA1__USDHC1_DATA1	0x13fe>, /* SD1_DATA1  */
			   <IMX95_PAD_SD1_DATA2__USDHC1_DATA2	0x13fe>, /* SD1_DATA2  */
			   <IMX95_PAD_SD1_DATA3__USDHC1_DATA3	0x13fe>, /* SD1_DATA3  */
			   <IMX95_PAD_SD1_DATA4__USDHC1_DATA4	0x13fe>, /* SD1_DATA4  */
			   <IMX95_PAD_SD1_DATA5__USDHC1_DATA5	0x13fe>, /* SD1_DATA5  */
			   <IMX95_PAD_SD1_DATA6__USDHC1_DATA6	0x13fe>, /* SD1_DATA6  */
			   <IMX95_PAD_SD1_DATA7__USDHC1_DATA7	0x13fe>, /* SD1_DATA7  */
			   <IMX95_PAD_SD1_STROBE__USDHC1_STROBE	0x15fe>; /* SD1_STROBE */
	};

	/* Verdin SD_1 */
	pinctrl_usdhc2: usdhc2grp {
		fsl,pins = <IMX95_PAD_SD2_CLK__USDHC2_CLK	0x158e>, /* SODIMM 78 */
			   <IMX95_PAD_SD2_CMD__USDHC2_CMD	0x138e>, /* SODIMM 74 */
			   <IMX95_PAD_SD2_DATA0__USDHC2_DATA0	0x138e>, /* SODIMM 80 */
			   <IMX95_PAD_SD2_DATA1__USDHC2_DATA1	0x138e>, /* SODIMM 82 */
			   <IMX95_PAD_SD2_DATA2__USDHC2_DATA2	0x138e>, /* SODIMM 70 */
			   <IMX95_PAD_SD2_DATA3__USDHC2_DATA3	0x138e>; /* SODIMM 72 */
	};

	pinctrl_usdhc2_200mhz: usdhc2-200mhzgrp {
		fsl,pins = <IMX95_PAD_SD2_CLK__USDHC2_CLK	0x15fe>, /* SODIMM 78 */
			   <IMX95_PAD_SD2_CMD__USDHC2_CMD	0x13fe>, /* SODIMM 74 */
			   <IMX95_PAD_SD2_DATA0__USDHC2_DATA0	0x13fe>, /* SODIMM 80 */
			   <IMX95_PAD_SD2_DATA1__USDHC2_DATA1	0x13fe>, /* SODIMM 82 */
			   <IMX95_PAD_SD2_DATA2__USDHC2_DATA2	0x13fe>, /* SODIMM 70 */
			   <IMX95_PAD_SD2_DATA3__USDHC2_DATA3	0x13fe>; /* SODIMM 72 */
	};

	pinctrl_usdhc2_sleep: usdhc2-sleepgrp {
		fsl,pins = <IMX95_PAD_SD2_CLK__USDHC2_CLK	0x400>, /* SODIMM 78 */
			   <IMX95_PAD_SD2_CMD__USDHC2_CMD	0x400>, /* SODIMM 74 */
			   <IMX95_PAD_SD2_DATA0__USDHC2_DATA0	0x400>, /* SODIMM 80 */
			   <IMX95_PAD_SD2_DATA1__USDHC2_DATA1	0x400>, /* SODIMM 82 */
			   <IMX95_PAD_SD2_DATA2__USDHC2_DATA2	0x400>, /* SODIMM 70 */
			   <IMX95_PAD_SD2_DATA3__USDHC2_DATA3	0x400>; /* SODIMM 72 */
	};

	/* Verdin SD_1_CD# */
	pinctrl_usdhc2_cd: usdhc2-cdgrp {
		fsl,pins = <IMX95_PAD_SD2_CD_B__GPIO3_IO_BIT0	0x1100>; /* SODIMM 84 */
	};

	/* Verdin SD_1_PWR_EN */
	pinctrl_usdhc2_pwr_en: usdhc2-pwrengrp {
		fsl,pins = <IMX95_PAD_SD2_RESET_B__GPIO3_IO_BIT7	0x11e>; /* SODIMM 76 */
	};

	pinctrl_usdhc2_vsel: usdhc2-vselgrp {
		fsl,pins = <IMX95_PAD_SD2_VSELECT__GPIO3_IO_BIT19	0x4>; /* PMIC_SD2_VSEL */
	};

	/* On-module Wi-Fi on WB SKUs, module-specific SDIO otherwise */
	pinctrl_usdhc3: usdhc3grp {
		fsl,pins = <IMX95_PAD_SD3_CLK__USDHC3_CLK	0x158e>, /* SD3_CLK   */
			   <IMX95_PAD_SD3_CMD__USDHC3_CMD	0x138e>, /* SD3_CMD   */
			   <IMX95_PAD_SD3_DATA0__USDHC3_DATA0	0x138e>, /* SD3_DATA0 */
			   <IMX95_PAD_SD3_DATA1__USDHC3_DATA1	0x138e>, /* SD3_DATA1 */
			   <IMX95_PAD_SD3_DATA2__USDHC3_DATA2	0x138e>, /* SD3_DATA2 */
			   <IMX95_PAD_SD3_DATA3__USDHC3_DATA3	0x138e>; /* SD3_DATA3 */
	};

	pinctrl_usdhc3_200mhz: usdhc3-200mhzgrp {
		fsl,pins = <IMX95_PAD_SD3_CLK__USDHC3_CLK	0x15fe>, /* SD3_CLK   */
			   <IMX95_PAD_SD3_CMD__USDHC3_CMD	0x13fe>, /* SD3_CMD   */
			   <IMX95_PAD_SD3_DATA0__USDHC3_DATA0	0x13fe>, /* SD3_DATA1 */
			   <IMX95_PAD_SD3_DATA1__USDHC3_DATA1	0x13fe>, /* SD3_DATA2 */
			   <IMX95_PAD_SD3_DATA2__USDHC3_DATA2	0x13fe>, /* SD3_DATA3 */
			   <IMX95_PAD_SD3_DATA3__USDHC3_DATA3	0x13fe>; /* SD3_DATA4 */
	};

	pinctrl_wifi_pwr_en: wifipwrengrp {
		fsl,pins = <IMX95_PAD_SAI1_TXFS__AONMIX_TOP_GPIO1_IO_BIT11	0x51e>; /* PMIC_EN_WIFI */
	};
};
